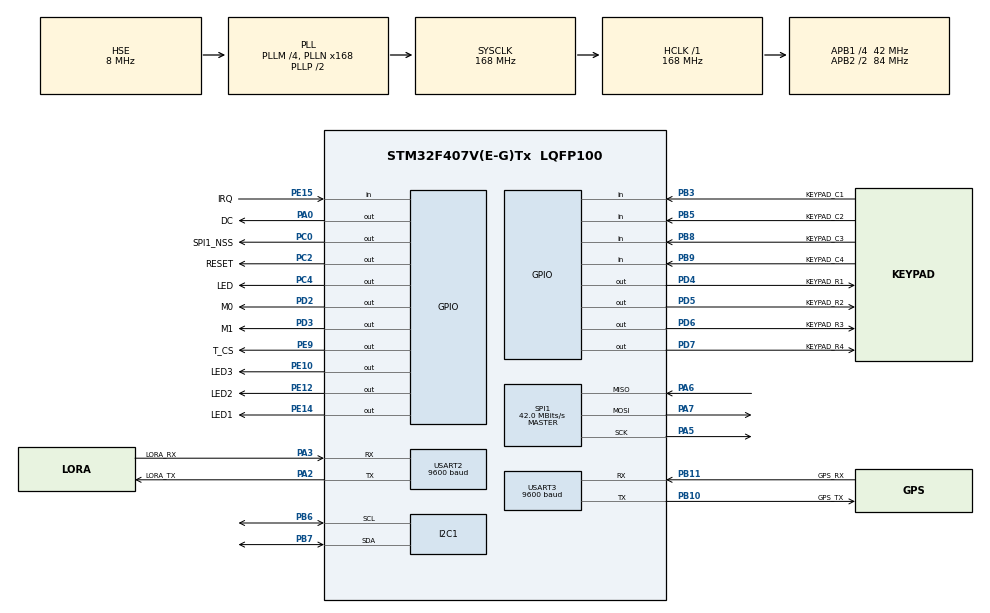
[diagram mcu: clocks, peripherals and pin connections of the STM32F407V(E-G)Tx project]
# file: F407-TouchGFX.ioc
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Dma.Request0=SPI1_TX
Dma.Request1=USART3_RX
Dma.Request2=USART2_RX
Dma.SPI1_TX.0.Direction=DMA_MEMORY_TO_PERIPH
Dma.SPI1_TX.0.FIFOMode=DMA_FIFOMODE_ENABLE
Dma.SPI1_TX.0.FIFOThreshold=DMA_FIFO_THRESHOLD_FULL
Dma.SPI1_TX.0.Instance=DMA2_Stream3
Dma.SPI1_TX.0.MemBurst=DMA_MBURST_SINGLE
Dma.SPI1_TX.0.MemDataAlignment=DMA_MDATAALIGN_BYTE
Dma.SPI1_TX.0.MemInc=DMA_MINC_ENABLE
Dma.SPI1_TX.0.Mode=DMA_NORMAL
Dma.SPI1_TX.0.PeriphBurst=DMA_PBURST_SINGLE
Dma.SPI1_TX.0.PeriphDataAlignment=DMA_PDATAALIGN_BYTE
Dma.SPI1_TX.0.PeriphInc=DMA_PINC_DISABLE
Dma.SPI1_TX.0.Priority=DMA_PRIORITY_LOW
Dma.USART2_RX.2.Direction=DMA_PERIPH_TO_MEMORY
Dma.USART2_RX.2.FIFOMode=DMA_FIFOMODE_DISABLE
Dma.USART2_RX.2.Instance=DMA1_Stream5
Dma.USART2_RX.2.MemDataAlignment=DMA_MDATAALIGN_BYTE
Dma.USART2_RX.2.MemInc=DMA_MINC_ENABLE
Dma.USART2_RX.2.Mode=DMA_NORMAL
Dma.USART2_RX.2.PeriphDataAlignment=DMA_PDATAALIGN_BYTE
Dma.USART2_RX.2.PeriphInc=DMA_PINC_DISABLE
Dma.USART2_RX.2.Priority=DMA_PRIORITY_LOW
Dma.USART3_RX.1.Direction=DMA_PERIPH_TO_MEMORY
Dma.USART3_RX.1.FIFOMode=DMA_FIFOMODE_DISABLE
Dma.USART3_RX.1.Instance=DMA1_Stream1
Dma.USART3_RX.1.MemDataAlignment=DMA_MDATAALIGN_BYTE
Dma.USART3_RX.1.MemInc=DMA_MINC_ENABLE
Dma.USART3_RX.1.Mode=DMA_NORMAL
Dma.USART3_RX.1.PeriphDataAlignment=DMA_PDATAALIGN_BYTE
Dma.USART3_RX.1.PeriphInc=DMA_PINC_DISABLE
Dma.USART3_RX.1.Priority=DMA_PRIORITY_LOW
FREERTOS.Queues01=transmitQ,4,String_t,0,Dynamic,NULL,NULL;receiveQ,4,String_t,0,Dynamic,NULL,NULL;latitudeQ,2,float,0,Dynamic,NULL,NULL;longitudeQ,2,float,0,Dynamic,NULL,NULL;testQ,1,uint16_t,0,Dynamic,NULL,NULL;keypadQ,1,uint8_t,0,Dynamic,NULL,NULL;gpsLengthQ,2,uint16_t,0,Dynamic,NULL,NULL;currentQ,2,uint16_t,0,Dynamic,NULL,NULL;voltageQ,2,uint16_t,0,Dynamic,NULL,NULL;rxLengthQ,2,uint16_t,0,Dynamic,NULL,NULL
FREERTOS.Tasks01=defaultTask,55,3000,StartDefaultTask,Default,NULL,Dynamic,NULL,NULL;blinkTask,8,128,StartBlinkTask,Default,NULL,Dynamic,NULL,NULL;gpsTask,24,2100,StartGPSTask,Default,NULL,Dynamic,NULL,NULL;keypadScanTask,32,128,StartKeypadScanTask,Default,NULL,Dynamic,NULL,NULL;INA219Task,16,512,StartINATask,Default,NULL,Dynamic,NULL,NULL;loraTask,24,512,StartLoRaTask,Default,NULL,Dynamic,NULL,NULL;loraSendTask,8,128,StartLoraSendTask,Default,NULL,Dynamic,NULL,NULL
FREERTOS.configTOTAL_HEAP_SIZE=32000
FREERTOS.configUSE_NEWLIB_REENTRANT=1
Mcu.Family=STM32F4
Mcu.Name=STM32F407V(E-G)Tx
Mcu.Package=LQFP100
NVIC.DMA1_Stream1_IRQn=true\:5\:0\:false\:false\:true\:true\:false\:true\:true
NVIC.DMA1_Stream5_IRQn=true\:5\:0\:false\:false\:true\:true\:false\:true\:true
NVIC.DMA2_Stream3_IRQn=true\:5\:0\:false\:false\:true\:true\:false\:true\:true
NVIC.PriorityGroup=NVIC_PRIORITYGROUP_4
NVIC.SPI1_IRQn=true\:5\:0\:false\:false\:true\:true\:true\:true\:true
NVIC.TIM1_UP_TIM10_IRQn=true\:15\:0\:false\:false\:true\:false\:false\:true\:true
NVIC.TIM7_IRQn=true\:5\:0\:false\:false\:true\:true\:true\:true\:true
NVIC.TimeBase=TIM1_UP_TIM10_IRQn
NVIC.TimeBaseIP=TIM10
NVIC.USART2_IRQn=true\:5\:0\:false\:false\:true\:true\:true\:true\:true
NVIC.USART3_IRQn=true\:5\:0\:false\:false\:true\:true\:true\:true\:true
PA0-WKUP.GPIO_Label=DC
PA0-WKUP.Signal=GPIO_Output
PA11.Signal=USB_OTG_FS_DM
PA12.Signal=USB_OTG_FS_DP
PA13.Mode=Serial_Wire
PA13.Signal=SYS_JTMS-SWDIO
PA14.Mode=Serial_Wire
PA14.Signal=SYS_JTCK-SWCLK
PA2.GPIO_Label=LORA_TX
PA2.GPIO_PuPd=GPIO_NOPULL
PA2.Mode=Asynchronous
PA2.Signal=USART2_TX
PA3.GPIO_Label=LORA_RX
PA3.GPIO_PuPd=GPIO_NOPULL
PA3.Mode=Asynchronous
PA3.Signal=USART2_RX
PA5.Mode=Full_Duplex_Master
PA5.Signal=SPI1_SCK
PA6.Mode=Full_Duplex_Master
PA6.Signal=SPI1_MISO
PA7.Mode=Full_Duplex_Master
PA7.Signal=SPI1_MOSI
PB10.GPIO_Label=GPS_TX
PB10.Mode=Asynchronous
PB10.Signal=USART3_TX
PB11.GPIO_Label=GPS_RX
PB11.Mode=Asynchronous
PB11.Signal=USART3_RX
PB3.GPIO_Label=KEYPAD_C1
PB3.GPIO_PuPd=GPIO_PULLUP
PB3.Signal=GPIO_Input
PB5.GPIO_Label=KEYPAD_C2
PB5.GPIO_PuPd=GPIO_PULLUP
PB5.Signal=GPIO_Input
PB6.Mode=I2C
PB6.Signal=I2C1_SCL
PB7.Mode=I2C
PB7.Signal=I2C1_SDA
PB8.GPIO_Label=KEYPAD_C3
PB8.GPIO_PuPd=GPIO_PULLUP
PB8.Signal=GPIO_Input
PB9.GPIO_Label=KEYPAD_C4
PB9.GPIO_PuPd=GPIO_PULLUP
PB9.Signal=GPIO_Input
PC0.GPIO_Label=SPI1_NSS
PC0.GPIO_Speed=GPIO_SPEED_FREQ_HIGH
PC0.Signal=GPIO_Output
PC2.GPIO_Label=RESET
PC2.Signal=GPIO_Output
PC4.GPIO_Label=LED
PC4.PinState=GPIO_PIN_SET
PC4.Signal=GPIO_Output
PD2.GPIO_Label=M0
PD2.Signal=GPIO_Output
PD3.GPIO_Label=M1
PD3.Signal=GPIO_Output
PD4.GPIO_Label=KEYPAD_R1
PD4.GPIO_PuPd=GPIO_NOPULL
PD4.PinState=GPIO_PIN_SET
PD4.Signal=GPIO_Output
PD5.GPIO_Label=KEYPAD_R2
PD5.GPIO_PuPd=GPIO_NOPULL
PD5.PinState=GPIO_PIN_SET
PD5.Signal=GPIO_Output
PD6.GPIO_Label=KEYPAD_R3
PD6.GPIO_PuPd=GPIO_NOPULL
PD6.PinState=GPIO_PIN_SET
PD6.Signal=GPIO_Output
PD7.GPIO_Label=KEYPAD_R4
PD7.GPIO_PuPd=GPIO_NOPULL
PD7.PinState=GPIO_PIN_SET
PD7.Signal=GPIO_Output
PE10.GPIO_Label=LED3
PE10.Signal=GPIO_Output
PE12.GPIO_Label=LED2
PE12.Signal=GPIO_Output
PE14.GPIO_Label=LED1
PE14.Signal=GPIO_Output
PE15.GPIO_Label=IRQ
PE15.Signal=GPIO_Input
PE9.GPIO_Label=T_CS
PE9.GPIO_Speed=GPIO_SPEED_FREQ_VERY_HIGH
PE9.PinState=GPIO_PIN_SET
PE9.Signal=GPIO_Output
PH0-OSC_IN.Mode=HSE-External-Oscillator
PH0-OSC_IN.Signal=RCC_OSC_IN
PH1-OSC_OUT.Mode=HSE-External-Oscillator
PH1-OSC_OUT.Signal=RCC_OSC_OUT
ProjectManager.HeapSize=0x200
ProjectManager.StackSize=0x400
ProjectManager.TargetToolchain=STM32CubeIDE
RCC.48MHZClocksFreq_Value=48000000
RCC.AHBFreq_Value=168000000
RCC.APB1CLKDivider=RCC_HCLK_DIV4
RCC.APB1Freq_Value=42000000
RCC.APB1TimFreq_Value=84000000
RCC.APB2CLKDivider=RCC_HCLK_DIV2
RCC.APB2Freq_Value=84000000
RCC.APB2TimFreq_Value=168000000
RCC.CortexFreq_Value=168000000
RCC.HCLKFreq_Value=168000000
RCC.HSE_VALUE=8000000
RCC.HSI_VALUE=16000000
RCC.LSE_VALUE=32768
RCC.PLLM=4
RCC.PLLN=168
RCC.PLLQ=7
RCC.PLLSourceVirtual=RCC_PLLSOURCE_HSE
RCC.SYSCLKFreq_VALUE=168000000
RCC.SYSCLKSource=RCC_SYSCLKSOURCE_PLLCLK
RCC.VCOOutputFreq_Value=336000000
SPI1.CalculateBaudRate=42.0 MBits/s
SPI1.Direction=SPI_DIRECTION_2LINES
SPI1.Mode=SPI_MODE_MASTER
SPI1.VirtualType=VM_MASTER
STMicroelectronics.X-CUBE-TOUCHGFX.4.20.0.ApplicationCcGraphicsJjApplication=TouchGFXOoGenerator
STMicroelectronics.X-CUBE-TOUCHGFX.4.20.0.tgfx_buffering_strategy=Partial
STMicroelectronics.X-CUBE-TOUCHGFX.4.20.0.tgfx_custom_height=240
STMicroelectronics.X-CUBE-TOUCHGFX.4.20.0.tgfx_custom_width=320
STMicroelectronics.X-CUBE-TOUCHGFX.4.20.0_IsPackSelfContextualization=true
TIM7.Period=30000 - 1
TIM7.Prescaler=168 - 1
USART2.BaudRate=9600
USART2.VirtualMode=VM_ASYNC
USART3.BaudRate=9600
USART3.VirtualMode=VM_ASYNC
VP_CRC_VS_CRC.Mode=CRC_Activate
VP_FREERTOS_VS_CMSIS_V2.Mode=CMSIS_V2
VP_STMicroelectronics.X-CUBE-TOUCHGFX_VS_GraphicsJjApplication_4.20.0.Mode=GraphicsJjApplication
VP_SYS_VS_tim10.Mode=TIM10
VP_TIM7_VS_ClockSourceINT.Mode=Enable_Timer
board=custom

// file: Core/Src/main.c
/* USER CODE BEGIN Header */
/**
  ******************************************************************************
  * @file           : main.c
  * @brief          : Main program body
  ******************************************************************************
  * @attention
  *
  * Copyright (c) 2022 STMicroelectronics.
  * All rights reserved.
  *
  * This software is licensed under terms that cman be found in the LICENSE file
  * in the root directory of this software component.
  * If no LICENSE file comes with this software, it is provided AS-IS.
  *
  ******************************************************************************
  */
/* USER CODE END Header */
#include "main.h"
#include "cmsis_os.h"
#include "app_touchgfx.h"

/* USER CODE BEGIN Includes */
#include "ili9341.h"
#include <stdbool.h>
#include <stdlib.h>
#include <string.h>
#include <stdio.h>
#include "INA219.h"
/* USER CODE END Includes */

/* USER CODE BEGIN PD */
#define GPS_BUF_SIZE 2048
#define LORA_RX_BUF_SIZE 128
#define LORA_TX_BUF_SIZE 128
#define DEVICE_ADDRESS 'A'
/* USER CODE END PD */

CRC_HandleTypeDef hcrc;

I2C_HandleTypeDef hi2c1;

SPI_HandleTypeDef hspi1;
DMA_HandleTypeDef hdma_spi1_tx;

TIM_HandleTypeDef htim7;

UART_HandleTypeDef huart2;
UART_HandleTypeDef huart3;
DMA_HandleTypeDef hdma_usart2_rx;
DMA_HandleTypeDef hdma_usart3_rx;

/* Definitions for defaultTask */
osThreadId_t defaultTaskHandle;
const osThreadAttr_t defaultTask_attributes = {
  .name = "defaultTask",
  .stack_size = 3000 * 4,
  .priority = (osPriority_t) osPriorityRealtime7,
};
/* Definitions for blinkTask */
osThreadId_t blinkTaskHandle;
const osThreadAttr_t blinkTask_attributes = {
  .name = "blinkTask",
  .stack_size = 128 * 4,
  .priority = (osPriority_t) osPriorityLow,
};
/* Definitions for gpsTask */
osThreadId_t gpsTaskHandle;
const osThreadAttr_t gpsTask_attributes = {
  .name = "gpsTask",
  .stack_size = 2100 * 4,
  .priority = (osPriority_t) osPriorityNormal,
};
/* Definitions for keypadScanTask */
osThreadId_t keypadScanTaskHandle;
const osThreadAttr_t keypadScanTask_attributes = {
  .name = "keypadScanTask",
  .stack_size = 128 * 4,
  .priority = (osPriority_t) osPriorityAboveNormal,
};
/* Definitions for INA219Task */
osThreadId_t INA219TaskHandle;
const osThreadAttr_t INA219Task_attributes = {
  .name = "INA219Task",
  .stack_size = 512 * 4,
  .priority = (osPriority_t) osPriorityBelowNormal,
};
/* Definitions for loraTask */
osThreadId_t loraTaskHandle;
const osThreadAttr_t loraTask_attributes = {
  .name = "loraTask",
  .stack_size = 512 * 4,
  .priority = (osPriority_t) osPriorityNormal,
};
/* Definitions for loraSendTask */
osThreadId_t loraSendTaskHandle;
const osThreadAttr_t loraSendTask_attributes = {
  .name = "loraSendTask",
  .stack_size = 128 * 4,
  .priority = (osPriority_t) osPriorityLow,
};
/* Definitions for transmitQ */
osMessageQueueId_t transmitQHandle;
const osMessageQueueAttr_t transmitQ_attributes = {
  .name = "transmitQ"
};
/* Definitions for receiveQ */
osMessageQueueId_t receiveQHandle;
const osMessageQueueAttr_t receiveQ_attributes = {
  .name = "receiveQ"
};
/* Definitions for latitudeQ */
osMessageQueueId_t latitudeQHandle;
const osMessageQueueAttr_t latitudeQ_attributes = {
  .name = "latitudeQ"
};
/* Definitions for longitudeQ */
osMessageQueueId_t longitudeQHandle;
const osMessageQueueAttr_t longitudeQ_attributes = {
  .name = "longitudeQ"
};
/* Definitions for testQ */
osMessageQueueId_t testQHandle;
const osMessageQueueAttr_t testQ_attributes = {
  .name = "testQ"
};
/* Definitions for keypadQ */
osMessageQueueId_t keypadQHandle;
const osMessageQueueAttr_t keypadQ_attributes = {
  .name = "keypadQ"
};
/* Definitions for gpsLengthQ */
osMessageQueueId_t gpsLengthQHandle;
const osMessageQueueAttr_t gpsLengthQ_attributes = {
  .name = "gpsLengthQ"
};
/* Definitions for currentQ */
osMessageQueueId_t currentQHandle;
const osMessageQueueAttr_t currentQ_attributes = {
  .name = "currentQ"
};
/* Definitions for voltageQ */
osMessageQueueId_t voltageQHandle;
const osMessageQueueAttr_t voltageQ_attributes = {
  .name = "voltageQ"
};
/* Definitions for rxLengthQ */
osMessageQueueId_t rxLengthQHandle;
const osMessageQueueAttr_t rxLengthQ_attributes = {
  .name = "rxLengthQ"
};
/* USER CODE BEGIN PV */
//SerialPrint
uint8_t buffer[512];
uint16_t bufferLength;

//DEBUGGING
uint16_t rxLength = 0;
uint8_t rxBuffer[128];

//GPS
float latitude = 0.0, longitude = 0.0;

/* USER CODE END PV */

void SystemClock_Config(void);
static void MX_GPIO_Init(void);
static void MX_DMA_Init(void);
static void MX_SPI1_Init(void);
static void MX_CRC_Init(void);
static void MX_TIM7_Init(void);
static void MX_USART3_UART_Init(void);
static void MX_USART2_UART_Init(void);
static void MX_I2C1_Init(void);
void StartDefaultTask(void *argument);
void StartBlinkTask(void *argument);
void StartGPSTask(void *argument);
void StartKeypadScanTask(void *argument);
void StartINATask(void *argument);
void StartLoRaTask(void *argument);
void StartLoraSendTask(void *argument);

int main(void)
{

  /* MCU Configuration--------------------------------------------------------*/

  /* Reset of all peripherals, Initializes the Flash interface and the Systick. */
  HAL_Init();

  /* Configure the system clock */
  SystemClock_Config();

  /* Initialize all configured peripherals */
  MX_GPIO_Init();
  MX_DMA_Init();
  MX_SPI1_Init();
  MX_CRC_Init();
  MX_TIM7_Init();
  MX_USART3_UART_Init();
  MX_USART2_UART_Init();
  MX_I2C1_Init();
  //MX_TouchGFX_Init();
  /* Call PreOsInit function */
  MX_TouchGFX_PreOSInit();
  /* USER CODE BEGIN 2 */
  HAL_Delay(50);
  HAL_TIM_Base_Start_IT(&htim7);
  ILI9341_Init();
  MX_TouchGFX_Init();

  memset(rxBuffer, 0, LORA_RX_BUF_SIZE);
  HAL_UARTEx_ReceiveToIdle_DMA(&huart2, rxBuffer, LORA_RX_BUF_SIZE);
  __HAL_DMA_DISABLE_IT(&hdma_usart2_rx, DMA_IT_HT);

  /* USER CODE END 2 */

  /* Init scheduler */
  osKernelInitialize();

  /* Create the queue(s) */
  /* creation of transmitQ */
  transmitQHandle = osMessageQueueNew (4, sizeof(String_t), &transmitQ_attributes);

  /* creation of receiveQ */
  receiveQHandle = osMessageQueueNew (4, sizeof(String_t), &receiveQ_attributes);

  /* creation of latitudeQ */
  latitudeQHandle = osMessageQueueNew (2, sizeof(float), &latitudeQ_attributes);

  /* creation of longitudeQ */
  longitudeQHandle = osMessageQueueNew (2, sizeof(float), &longitudeQ_attributes);

  /* creation of testQ */
  testQHandle = osMessageQueueNew (1, sizeof(uint16_t), &testQ_attributes);

  /* creation of keypadQ */
  keypadQHandle = osMessageQueueNew (1, sizeof(uint8_t), &keypadQ_attributes);

  /* creation of gpsLengthQ */
  gpsLengthQHandle = osMessageQueueNew (2, sizeof(uint16_t), &gpsLengthQ_attributes);

  /* creation of currentQ */
  currentQHandle = osMessageQueueNew (2, sizeof(uint16_t), &currentQ_attributes);

  /* creation of voltageQ */
  voltageQHandle = osMessageQueueNew (2, sizeof(uint16_t), &voltageQ_attributes);

  /* creation of rxLengthQ */
  rxLengthQHandle = osMessageQueueNew (2, sizeof(uint16_t), &rxLengthQ_attributes);

  /* Create the thread(s) */
  /* creation of defaultTask */
  defaultTaskHandle = osThreadNew(StartDefaultTask, NULL, &defaultTask_attributes);

  /* creation of blinkTask */
  blinkTaskHandle = osThreadNew(StartBlinkTask, NULL, &blinkTask_attributes);

  /* creation of gpsTask */
  gpsTaskHandle = osThreadNew(StartGPSTask, NULL, &gpsTask_attributes);

  /* creation of keypadScanTask */
  keypadScanTaskHandle = osThreadNew(StartKeypadScanTask, NULL, &keypadScanTask_attributes);

  /* creation of INA219Task */
  INA219TaskHandle = osThreadNew(StartINATask, NULL, &INA219Task_attributes);

  /* creation of loraTask */
  loraTaskHandle = osThreadNew(StartLoRaTask, NULL, &loraTask_attributes);

  /* creation of loraSendTask */
  loraSendTaskHandle = osThreadNew(StartLoraSendTask, NULL, &loraSendTask_attributes);

  /* Start scheduler */
  osKernelStart();

  /* We should never get here as control is now taken by the scheduler */
  /* Infinite loop */
  while (1)
  {

  }
}

void SystemClock_Config(void)
{
  RCC_OscInitTypeDef RCC_OscInitStruct = {0};
  RCC_ClkInitTypeDef RCC_ClkInitStruct = {0};

  /** Configure the main internal regulator output voltage
  */
  __HAL_RCC_PWR_CLK_ENABLE();
  __HAL_PWR_VOLTAGESCALING_CONFIG(PWR_REGULATOR_VOLTAGE_SCALE1);

  /** Initializes the RCC Oscillators according to the specified parameters
  * in the RCC_OscInitTypeDef structure.
  */
  RCC_OscInitStruct.OscillatorType = RCC_OSCILLATORTYPE_HSE;
  RCC_OscInitStruct.HSEState = RCC_HSE_ON;
  RCC_OscInitStruct.PLL.PLLState = RCC_PLL_ON;
  RCC_OscInitStruct.PLL.PLLSource = RCC_PLLSOURCE_HSE;
  RCC_OscInitStruct.PLL.PLLM = 4;
  RCC_OscInitStruct.PLL.PLLN = 168;
  RCC_OscInitStruct.PLL.PLLP = RCC_PLLP_DIV2;
  RCC_OscInitStruct.PLL.PLLQ = 7;
  if (HAL_RCC_OscConfig(&RCC_OscInitStruct) != HAL_OK)
  {
    Error_Handler();
  }

  /** Initializes the CPU, AHB and APB buses clocks
  */
  RCC_ClkInitStruct.ClockType = RCC_CLOCKTYPE_HCLK|RCC_CLOCKTYPE_SYSCLK
                              |RCC_CLOCKTYPE_PCLK1|RCC_CLOCKTYPE_PCLK2;
  RCC_ClkInitStruct.SYSCLKSource = RCC_SYSCLKSOURCE_PLLCLK;
  RCC_ClkInitStruct.AHBCLKDivider = RCC_SYSCLK_DIV1;
  RCC_ClkInitStruct.APB1CLKDivider = RCC_HCLK_DIV4;
  RCC_ClkInitStruct.APB2CLKDivider = RCC_HCLK_DIV2;

  if (HAL_RCC_ClockConfig(&RCC_ClkInitStruct, FLASH_LATENCY_5) != HAL_OK)
  {
    Error_Handler();
  }
}

static void MX_CRC_Init(void)
{

  hcrc.Instance = CRC;
  if (HAL_CRC_Init(&hcrc) != HAL_OK)
  {
    Error_Handler();
  }

}

static void MX_I2C1_Init(void)
{

  hi2c1.Instance = I2C1;
  hi2c1.Init.ClockSpeed = 100000;
  hi2c1.Init.DutyCycle = I2C_DUTYCYCLE_2;
  hi2c1.Init.OwnAddress1 = 0;
  hi2c1.Init.AddressingMode = I2C_ADDRESSINGMODE_7BIT;
  hi2c1.Init.DualAddressMode = I2C_DUALADDRESS_DISABLE;
  hi2c1.Init.OwnAddress2 = 0;
  hi2c1.Init.GeneralCallMode = I2C_GENERALCALL_DISABLE;
  hi2c1.Init.NoStretchMode = I2C_NOSTRETCH_DISABLE;
  if (HAL_I2C_Init(&hi2c1) != HAL_OK)
  {
    Error_Handler();
  }

}

static void MX_SPI1_Init(void)
{

  /* SPI1 parameter configuration*/
  hspi1.Instance = SPI1;
  hspi1.Init.Mode = SPI_MODE_MASTER;
  hspi1.Init.Direction = SPI_DIRECTION_2LINES;
  hspi1.Init.DataSize = SPI_DATASIZE_8BIT;
  hspi1.Init.CLKPolarity = SPI_POLARITY_LOW;
  hspi1.Init.CLKPhase = SPI_PHASE_1EDGE;
  hspi1.Init.NSS = SPI_NSS_SOFT;
  hspi1.Init.BaudRatePrescaler = SPI_BAUDRATEPRESCALER_2;
  hspi1.Init.FirstBit = SPI_FIRSTBIT_MSB;
  hspi1.Init.TIMode = SPI_TIMODE_DISABLE;
  hspi1.Init.CRCCalculation = SPI_CRCCALCULATION_DISABLE;
  hspi1.Init.CRCPolynomial = 10;
  if (HAL_SPI_Init(&hspi1) != HAL_OK)
  {
    Error_Handler();
  }

}

static void MX_TIM7_Init(void)
{

  TIM_MasterConfigTypeDef sMasterConfig = {0};

  htim7.Instance = TIM7;
  htim7.Init.Prescaler = 168 - 1;
  htim7.Init.CounterMode = TIM_COUNTERMODE_UP;
  htim7.Init.Period = 30000 - 1;
  htim7.Init.AutoReloadPreload = TIM_AUTORELOAD_PRELOAD_DISABLE;
  if (HAL_TIM_Base_Init(&htim7) != HAL_OK)
  {
    Error_Handler();
  }
  sMasterConfig.MasterOutputTrigger = TIM_TRGO_RESET;
  sMasterConfig.MasterSlaveMode = TIM_MASTERSLAVEMODE_DISABLE;
  if (HAL_TIMEx_MasterConfigSynchronization(&htim7, &sMasterConfig) != HAL_OK)
  {
    Error_Handler();
  }

}

static void MX_USART2_UART_Init(void)
{

  huart2.Instance = USART2;
  huart2.Init.BaudRate = 9600;
  huart2.Init.WordLength = UART_WORDLENGTH_8B;
  huart2.Init.StopBits = UART_STOPBITS_1;
  huart2.Init.Parity = UART_PARITY_NONE;
  huart2.Init.Mode = UART_MODE_TX_RX;
  huart2.Init.HwFlowCtl = UART_HWCONTROL_NONE;
  huart2.Init.OverSampling = UART_OVERSAMPLING_16;
  if (HAL_UART_Init(&huart2) != HAL_OK)
  {
    Error_Handler();
  }

}

static void MX_USART3_UART_Init(void)
{

  huart3.Instance = USART3;
  huart3.Init.BaudRate = 9600;
  huart3.Init.WordLength = UART_WORDLENGTH_8B;
  huart3.Init.StopBits = UART_STOPBITS_1;
  huart3.Init.Parity = UART_PARITY_NONE;
  huart3.Init.Mode = UART_MODE_TX_RX;
  huart3.Init.HwFlowCtl = UART_HWCONTROL_NONE;
  huart3.Init.OverSampling = UART_OVERSAMPLING_16;
  if (HAL_UART_Init(&huart3) != HAL_OK)
  {
    Error_Handler();
  }

}

static void MX_DMA_Init(void)
{

  /* DMA controller clock enable */
  __HAL_RCC_DMA2_CLK_ENABLE();
  __HAL_RCC_DMA1_CLK_ENABLE();

  /* DMA interrupt init */
  /* DMA1_Stream1_IRQn interrupt configuration */
  HAL_NVIC_SetPriority(DMA1_Stream1_IRQn, 5, 0);
  HAL_NVIC_EnableIRQ(DMA1_Stream1_IRQn);
  /* DMA1_Stream5_IRQn interrupt configuration */
  HAL_NVIC_SetPriority(DMA1_Stream5_IRQn, 5, 0);
  HAL_NVIC_EnableIRQ(DMA1_Stream5_IRQn);
  /* DMA2_Stream3_IRQn interrupt configuration */
  HAL_NVIC_SetPriority(DMA2_Stream3_IRQn, 5, 0);
  HAL_NVIC_EnableIRQ(DMA2_Stream3_IRQn);

}

static void MX_GPIO_Init(void)
{
  GPIO_InitTypeDef GPIO_InitStruct = {0};

  /* GPIO Ports Clock Enable */
  __HAL_RCC_GPIOH_CLK_ENABLE();
  __HAL_RCC_GPIOC_CLK_ENABLE();
  __HAL_RCC_GPIOA_CLK_ENABLE();
  __HAL_RCC_GPIOE_CLK_ENABLE();
  __HAL_RCC_GPIOB_CLK_ENABLE();
  __HAL_RCC_GPIOD_CLK_ENABLE();

  /*Configure GPIO pin Output Level */
  HAL_GPIO_WritePin(GPIOC, SPI1_NSS_Pin|RESET_Pin, GPIO_PIN_RESET);

  /*Configure GPIO pin Output Level */
  HAL_GPIO_WritePin(DC_GPIO_Port, DC_Pin, GPIO_PIN_RESET);

  /*Configure GPIO pin Output Level */
  HAL_GPIO_WritePin(LED_GPIO_Port, LED_Pin, GPIO_PIN_SET);

  /*Configure GPIO pin Output Level */
  HAL_GPIO_WritePin(T_CS_GPIO_Port, T_CS_Pin, GPIO_PIN_SET);

  /*Configure GPIO pin Output Level */
  HAL_GPIO_WritePin(GPIOE, LED3_Pin|LED2_Pin|LED1_Pin, GPIO_PIN_RESET);

  /*Configure GPIO pin Output Level */
  HAL_GPIO_WritePin(GPIOD, M0_Pin|M1_Pin, GPIO_PIN_RESET);

  /*Configure GPIO pin Output Level */
  HAL_GPIO_WritePin(GPIOD, KEYPAD_R1_Pin|KEYPAD_R2_Pin|KEYPAD_R3_Pin|KEYPAD_R4_Pin, GPIO_PIN_SET);

  /*Configure GPIO pin : SPI1_NSS_Pin */
  GPIO_InitStruct.Pin = SPI1_NSS_Pin;
  GPIO_InitStruct.Mode = GPIO_MODE_OUTPUT_PP;
  GPIO_InitStruct.Pull = GPIO_NOPULL;
  GPIO_InitStruct.Speed = GPIO_SPEED_FREQ_HIGH;
  HAL_GPIO_Init(SPI1_NSS_GPIO_Port, &GPIO_InitStruct);

  /*Configure GPIO pins : RESET_Pin LED_Pin */
  GPIO_InitStruct.Pin = RESET_Pin|LED_Pin;
  GPIO_InitStruct.Mode = GPIO_MODE_OUTPUT_PP;
  GPIO_InitStruct.Pull = GPIO_NOPULL;
  GPIO_InitStruct.Speed = GPIO_SPEED_FREQ_LOW;
  HAL_GPIO_Init(GPIOC, &GPIO_InitStruct);

  /*Configure GPIO pin : DC_Pin */
  GPIO_InitStruct.Pin = DC_Pin;
  GPIO_InitStruct.Mode = GPIO_MODE_OUTPUT_PP;
  GPIO_InitStruct.Pull = GPIO_NOPULL;
  GPIO_InitStruct.Speed = GPIO_SPEED_FREQ_LOW;
  HAL_GPIO_Init(DC_GPIO_Port, &GPIO_InitStruct);

  /*Configure GPIO pin : T_CS_Pin */
  GPIO_InitStruct.Pin = T_CS_Pin;
  GPIO_InitStruct.Mode = GPIO_MODE_OUTPUT_PP;
  GPIO_InitStruct.Pull = GPIO_NOPULL;
  GPIO_InitStruct.Speed = GPIO_SPEED_FREQ_VERY_HIGH;
  HAL_GPIO_Init(T_CS_GPIO_Port, &GPIO_InitStruct);

  /*Configure GPIO pins : LED3_Pin LED2_Pin LED1_Pin */
  GPIO_InitStruct.Pin = LED3_Pin|LED2_Pin|LED1_Pin;
  GPIO_InitStruct.Mode = GPIO_MODE_OUTPUT_PP;
  GPIO_InitStruct.Pull = GPIO_NOPULL;
  GPIO_InitStruct.Speed = GPIO_SPEED_FREQ_LOW;
  HAL_GPIO_Init(GPIOE, &GPIO_InitStruct);

  /*Configure GPIO pin : IRQ_Pin */
  GPIO_InitStruct.Pin = IRQ_Pin;
  GPIO_InitStruct.Mode = GPIO_MODE_INPUT;
  GPIO_InitStruct.Pull = GPIO_NOPULL;
  HAL_GPIO_Init(IRQ_GPIO_Port, &GPIO_InitStruct);

  /*Configure GPIO pins : PA11 PA12 */
  GPIO_InitStruct.Pin = GPIO_PIN_11|GPIO_PIN_12;
  GPIO_InitStruct.Mode = GPIO_MODE_AF_PP;
  GPIO_InitStruct.Pull = GPIO_NOPULL;
  GPIO_InitStruct.Speed = GPIO_SPEED_FREQ_VERY_HIGH;
  GPIO_InitStruct.Alternate = GPIO_AF10_OTG_FS;
  HAL_GPIO_Init(GPIOA, &GPIO_InitStruct);

  /*Configure GPIO pins : M0_Pin M1_Pin KEYPAD_R1_Pin KEYPAD_R2_Pin
                           KEYPAD_R3_Pin KEYPAD_R4_Pin */
  GPIO_InitStruct.Pin = M0_Pin|M1_Pin|KEYPAD_R1_Pin|KEYPAD_R2_Pin
                          |KEYPAD_R3_Pin|KEYPAD_R4_Pin;
  GPIO_InitStruct.Mode = GPIO_MODE_OUTPUT_PP;
  GPIO_InitStruct.Pull = GPIO_NOPULL;
  GPIO_InitStruct.Speed = GPIO_SPEED_FREQ_LOW;
  HAL_GPIO_Init(GPIOD, &GPIO_InitStruct);

  /*Configure GPIO pins : KEYPAD_C1_Pin KEYPAD_C2_Pin KEYPAD_C3_Pin KEYPAD_C4_Pin */
  GPIO_InitStruct.Pin = KEYPAD_C1_Pin|KEYPAD_C2_Pin|KEYPAD_C3_Pin|KEYPAD_C4_Pin;
  GPIO_InitStruct.Mode = GPIO_MODE_INPUT;
  GPIO_InitStruct.Pull = GPIO_PULLUP;
  HAL_GPIO_Init(GPIOB, &GPIO_InitStruct);

}

/* USER CODE BEGIN 4 */
extern void touchgfxSignalVSync(void);

void HAL_UARTEx_RxEventCallback(UART_HandleTypeDef *huart, uint16_t Size){
	static String_t rxQueueSend;
	if(huart->Instance == USART3){
		//GPSUSARTLength = Size;
		osMessageQueuePut(gpsLengthQHandle, &Size, 0U, 0U);
		osThreadFlagsSet(gpsTaskHandle, 0x01);
	}
	else if(huart->Instance == USART2){
		rxQueueSend.message = rxBuffer;
		rxQueueSend.message[Size] = '\0';
		rxQueueSend.length = Size;
		osMessageQueuePut(receiveQHandle, &rxQueueSend, 0U, 0U);

		HAL_UARTEx_ReceiveToIdle_DMA(&huart2, rxBuffer, LORA_RX_BUF_SIZE);
		__HAL_DMA_DISABLE_IT(&hdma_usart2_rx, DMA_IT_HT);

	}
}
/* USER CODE END 4 */

void StartDefaultTask(void *argument)
{
  /* USER CODE BEGIN 5 */
  MX_TouchGFX_Process();
  /* Infinite loop */
  for(;;)
  {
    osDelay(osWaitForever);
  }
  /* USER CODE END 5 */
}

void StartBlinkTask(void *argument)
{
  /* USER CODE BEGIN StartBlinkTask */
	uint16_t count = 0;
	uint8_t message[32];
  /* Infinite loop */
  for(;;)
  {
	osMessageQueuePut(testQHandle, &count, 0, 0);
	count++;
	HAL_GPIO_TogglePin(LED1_GPIO_Port, LED1_Pin);
    osDelay(1000);
  }
  /* USER CODE END StartBlinkTask */
}

void StartGPSTask(void *argument)
{
  /* USER CODE BEGIN StartGPSTask */
	uint8_t USART3Buffer[GPS_BUF_SIZE + 20];
	uint8_t GPSBuffer[GPS_BUF_SIZE];
	int8_t lat_dd;
	float lat_mm ;
	int8_t lon_dd ;
	float lon_mm;
	float velocity;
	uint16_t gpsLength = 0;

	memset(GPSBuffer, 0, GPS_BUF_SIZE);
	memset(USART3Buffer, 0, GPS_BUF_SIZE);

	HAL_UARTEx_ReceiveToIdle_DMA(&huart3, USART3Buffer, GPS_BUF_SIZE);
	__HAL_DMA_DISABLE_IT(&hdma_usart3_rx, DMA_IT_HT);

  /* Infinite loop */
  for(;;)
  {
	osThreadFlagsWait(0x01, osFlagsWaitAny, osWaitForever);
	if(osMessageQueueGet(gpsLengthQHandle, &gpsLength, 0U, 0U) != osOK) continue;
	uint8_t *ch_in_str;
	uint8_t *cek_valid;

	memcpy((uint8_t*)GPSBuffer, (uint8_t*)USART3Buffer, gpsLength);

	HAL_UARTEx_ReceiveToIdle_DMA(&huart3, USART3Buffer, GPS_BUF_SIZE);
	__HAL_DMA_DISABLE_IT(&hdma_usart3_rx, DMA_IT_HT);

	if ((ch_in_str = (uint8_t*)strstr((char*)GPSBuffer, "RMC")) != NULL) {
		ch_in_str = (uint8_t*)strchr((char*)++ch_in_str, ',');
		ch_in_str = (uint8_t*)strchr((char*)++ch_in_str, ',');

		if(ch_in_str[1] != 'A');
		//if (strchr((char*)ch_in_str, 'A') == NULL);
		else {
			//Mencari koma
			if ((ch_in_str = (uint8_t*)strchr((char*)++ch_in_str, ',')) != NULL) {

				//Parsing Nilai latitude dengan membagi 100 (integer)
				lat_dd = (short) strtoul((char*)++ch_in_str, NULL, 10) / 100;

				//Mengarah ke nilai mm
				++ch_in_str;
				lat_mm = strtof((char*)++ch_in_str, &ch_in_str);

				if (*(++ch_in_str) == 'S') {
					lat_dd *= -1;
					lat_mm *= -1;
				}

				latitude = lat_dd + (lat_mm / 60);

				//Mencari koma longitude
				++ch_in_str;
				++ch_in_str;
				lon_dd = (short) strtoul((char*)ch_in_str, NULL, 10) / 100;

				//Mengacu pada nilai mm
				++ch_in_str;
				++ch_in_str;
				lon_mm = strtof((char*)++ch_in_str, &ch_in_str);

				//Apabila longitude W
				if (*(++ch_in_str) == 'W') {
					lon_dd *= -1;
					lon_mm *= -1;
				}

				longitude = lon_dd + (lon_mm / 60);

				//Mengacu pada nilai velocity
				++ch_in_str;
				velocity = strtof((char*)++ch_in_str, NULL);
				//printf("GNRMC: latitude: %f\tlongitude: %f\tvelo: %f\r\n", latitude, longitude, velocity);
				//bufferLength = sprintf((char*)buffer, "GNRMC = latitude: %f\tlongitude: %f\tvelo: %f\r\n", latitude, longitude, velocity);
				//CDC_Transmit_FS(buffer, bufferLength);
				osMessageQueuePut(latitudeQHandle, &latitude, 0U, 0U);
				osMessageQueuePut(longitudeQHandle, &longitude, 0U, 0U);
			}
		}
	}

	/*if((ch_in_str = (uint8_t*)strstr((char*)GPSBuffer, "GGA")) != NULL){
		//$GPGGA,172814.0,3723.46587704,N,12202.26957864,W,2,6,1.2,18.893,M,-25.669,M,2.0,0031*4F

		//cek validity
		cek_valid = (uint8_t*)strchr((char*)ch_in_str, ',');
		cek_valid = (uint8_t*)strchr((char*)++cek_valid, ',');
		cek_valid = (uint8_t*)strchr((char*)++cek_valid, ',');

		cek_valid = (uint8_t*)strchr((char*)++cek_valid, ',');
		cek_valid = (uint8_t*)strchr((char*)++cek_valid, ',');
		cek_valid = (uint8_t*)strchr((char*)++cek_valid, ',');
		++cek_valid;

		if(*cek_valid != '1' && *cek_valid != '2' && *cek_valid != '6');
		else {
			ch_in_str = (uint8_t*)strchr((char*)++ch_in_str, ',');
			ch_in_str = (uint8_t*)strchr((char*)++ch_in_str, ',');

			//Parsing Nilai latitude dengan membagi 100 (integer)
			lat_dd = strtoul((char*)++ch_in_str, NULL, 10) / 100;

			//Mengarah ke nilai mm
			++ch_in_str;
			lat_mm = strtof((char*)++ch_in_str, &ch_in_str);

			if (*(++ch_in_str) == 'S') {
				lat_dd *= -1;
				lat_mm *= -1;
			}

			lat_gps = lat_dd + (lat_mm / 60);

			//Mencari koma longitude
			++ch_in_str;
			++ch_in_str;
			lon_dd = strtoul((char*)ch_in_str, NULL, 10) / 100;

			//Mengacu pada nilai mm
			++ch_in_str;
			++ch_in_str;
			lon_mm = strtof((char*)++ch_in_str, &ch_in_str);

			//Apabila longitude W
			if (*(++ch_in_str) == 'W') {
				lon_dd *= -1;
				lon_mm *= -1;
			}

			lon_gps = lon_dd + (lon_mm / 60);

			// skip fix indicator
			ch_in_str = ch_in_str + 3;

			// cari koma dua kali
			ch_in_str = (uint8_t*)strchr((char*)++ch_in_str, ',');
			ch_in_str = (uint8_t*)strchr((char*)++ch_in_str, ',');

			// ambil nilai altitude
			alti = strtof((char*)++ch_in_str, &ch_in_str);
			//printf("GNGGA: latitude: %f\tlongitude: %f\talti: %f\r\n", lat_gps, lon_gps, alti);
		}

	}
	//printf("vel: %f\tlat: %f\tlon: %f\r\n", velocity, latitude, longitude);*/
	memset(GPSBuffer, 0, GPS_BUF_SIZE);
  }
  /* USER CODE END StartGPSTask */
}

void StartKeypadScanTask(void *argument)
{
  /* USER CODE BEGIN StartKeypadScanTask */
	uint8_t numberPressed = 11;
	uint8_t prevNumberPressed = 11;
	uint32_t sameKeyTick = 0, prevKeyTick = 0;
	uint16_t RPin[4] = {KEYPAD_R1_Pin, KEYPAD_R2_Pin, KEYPAD_R3_Pin, KEYPAD_R4_Pin};
	uint16_t CPin[4] = {KEYPAD_C1_Pin, KEYPAD_C2_Pin, KEYPAD_C3_Pin, KEYPAD_C4_Pin};
  /* Infinite loop */
  for(;;)
  {
		uint8_t buttonPressed[2] = {255, 255};

		for(int i = 0; i < 4; i++){
			HAL_GPIO_WritePin(GPIOD, KEYPAD_R1_Pin | KEYPAD_R2_Pin | KEYPAD_R3_Pin | KEYPAD_R4_Pin, GPIO_PIN_SET);
			HAL_GPIO_WritePin(GPIOD, RPin[i], GPIO_PIN_RESET);

			for(int j = 0; j < 4; j++){
				if(HAL_GPIO_ReadPin(GPIOB, CPin[j]) == GPIO_PIN_RESET){
					buttonPressed[1] = j + 1;
					buttonPressed[0] = i + 1;
					break;
				}
			}
			if(buttonPressed[0] != 255 && buttonPressed[1] != 255) break;
		}

		if(buttonPressed[0] != 255 && buttonPressed[1] != 255){
			prevNumberPressed = numberPressed;
			sameKeyTick = osKernelGetTickCount() - prevKeyTick;
			if(buttonPressed[0] == 4 && buttonPressed[1] == 4) numberPressed = 1;
			else if(buttonPressed[0] == 3 && buttonPressed[1] == 4) numberPressed = 2;
			else if(buttonPressed[0] == 2 && buttonPressed[1] == 4) numberPressed = 3;
			else if(buttonPressed[0] == 1 && buttonPressed[1] == 4) numberPressed = 'A';
			else if(buttonPressed[0] == 4 && buttonPressed[1] == 3) numberPressed = 4;
			else if(buttonPressed[0] == 3 && buttonPressed[1] == 3) numberPressed = 5;
			else if(buttonPressed[0] == 2 && buttonPressed[1] == 3) numberPressed = 6;
			else if(buttonPressed[0] == 1 && buttonPressed[1] == 3) numberPressed = 'B';
			else if(buttonPressed[0] == 4 && buttonPressed[1] == 2) numberPressed = 7;
			else if(buttonPressed[0] == 3 && buttonPressed[1] == 2) numberPressed = 8;
			else if(buttonPressed[0] == 2 && buttonPressed[1] == 2) numberPressed = 9;
			else if(buttonPressed[0] == 1 && buttonPressed[1] == 2) numberPressed = 'C';
			else if(buttonPressed[0] == 4 && buttonPressed[1] == 1) numberPressed = 'X';
			else if(buttonPressed[0] == 3 && buttonPressed[1] == 1) numberPressed = 0;
			else if(buttonPressed[0] == 2 && buttonPressed[1] == 1) numberPressed = 'Y';
			else if(buttonPressed[0] == 1 && buttonPressed[1] == 1) numberPressed = 'D';
			prevKeyTick = osKernelGetTickCount();

			if(prevNumberPressed == numberPressed && sameKeyTick <= 100);
			else {
				osMessageQueuePut(keypadQHandle, &numberPressed, 0U, 0U);
				if(numberPressed == 'Y') osDelay(1000);
			}
		}

		osDelay(10);
  }
  /* USER CODE END StartKeypadScanTask */
}

void StartINATask(void *argument)
{
  /* USER CODE BEGIN StartINATask */
  INA219_t ina219;
  uint16_t vbus, vshunt, current;

  while(!INA219_Init(&ina219, &hi2c1, INA219_ADDRESS)){
	  HAL_GPIO_TogglePin(LED2_GPIO_Port, LED2_Pin);
	  osDelay(2000);
  }
  /* Infinite loop */
  for(;;)
  {
	vbus = INA219_ReadBusVoltage(&ina219);
	vshunt = INA219_ReadShuntVolage(&ina219);
	current = INA219_ReadCurrent(&ina219);
	osMessageQueuePut(currentQHandle, &current, 0U, 0U);
	osMessageQueuePut(voltageQHandle, &vbus, 0U, 0U);
    osDelay(1000);
  }
  /* USER CODE END StartINATask */
}

void StartLoRaTask(void *argument)
{
  /* USER CODE BEGIN StartLoRaTask */
	//uint8_t txBuffer[LORA_TX_BUF_SIZE];
  /* Infinite loop */
  for(;;)
  {
	  osDelay(osWaitForever);
//	osThreadFlagsWait(0x01, osFlagsWaitAny, osWaitForever);
//
//	if(osMessageQueueGet(rxLengthQHandle, &rxLength, 0U, 0U) != osOK) continue;
//	HAL_UARTEx_ReceiveToIdle_DMA(&huart2, rxBuffer, LORA_RX_BUF_SIZE);
//	__HAL_DMA_DISABLE_IT(&hdma_usart2_rx, DMA_IT_HT);
//	for(int i = 0; i < rxLength; i++) rxQueueSend.message[i] = rxBuffer[i];
//	rxQueueSend.message[rxLength] = 0;
//	rxQueueSend.length = rxLength;
//	osMessageQueuePut(receiveQHandle, &rxQueueSend, 0U, 0U);

  }
  /* USER CODE END StartLoRaTask */
}

void StartLoraSendTask(void *argument)
{
  /* USER CODE BEGIN StartLoraSendTask */
	uint8_t message[128];
	String_t sendMessageString;
	uint16_t messageLength = 0;
	uint32_t idMessage = 0;

  /* Infinite loop */
	for (;;) {
		if(osMessageQueueGet(transmitQHandle, &sendMessageString, 0U, 10) == osOK){
			for(int i = 0; i < sendMessageString.length; i++) idMessage += sendMessageString.message[i];
			idMessage += (DEVICE_ADDRESS + (TIM10->CNT * sendMessageString.length));
			messageLength = sprintf((char*)message, "%c,%f,%f,%s,%lu", DEVICE_ADDRESS, latitude, longitude, sendMessageString.message, idMessage);
			HAL_UART_Transmit(&huart2, message, messageLength, 100);
		}

/*		uint8_t lengthMessage = 0;
		osStatus_t statusTransmitQ;
		message[0] = 0;
		do {
			statusTransmitQ = osMessageQueueGet(transmitQHandle, &message[lengthMessage], 0U, 0U);
			lengthMessage++;
		} while (statusTransmitQ != osOK);

		if(message[0] != 0){
			for(int i = 0; i < lengthMessage; i++){
				osMessageQueuePut(receiveQHandle, &message[i], 0U, 0U);
			}
		}

		osDelay(20);*/

//		uint16_t lengthMessage = 0;
//
//		HAL_GPIO_TogglePin(LED3_GPIO_Port, LED3_Pin);
//		lengthMessage = sprintf((char*)message, "Hello: %lu\r\n", osKernelGetTickCount());
//		HAL_UART_Transmit(&huart2, message, lengthMessage, HAL_MAX_DELAY);
//		osDelay(2000);
	}
  /* USER CODE END StartLoraSendTask */
}

void HAL_TIM_PeriodElapsedCallback(TIM_HandleTypeDef *htim)
{
  if (htim->Instance == TIM10) {
    HAL_IncTick();
  }
  /* USER CODE BEGIN Callback 1 */
  else if(htim->Instance == TIM7){
	  touchgfxSignalVSync();
		//bufferLength = sprintf((char*)buffer, "Hello World!\r\n");
		//CDC_Transmit_FS(buffer, bufferLength);
  }
  /* USER CODE END Callback 1 */
}

void Error_Handler(void)
{
  /* USER CODE BEGIN Error_Handler_Debug */
	HAL_GPIO_WritePin(LED1_GPIO_Port, LED1_Pin, GPIO_PIN_SET);
	HAL_GPIO_WritePin(LED2_GPIO_Port, LED2_Pin, GPIO_PIN_SET);
	HAL_GPIO_WritePin(LED3_GPIO_Port, LED3_Pin, GPIO_PIN_SET);
  /* User can add his own implementation to report the HAL error return state */
  __disable_irq();
  while (1)
  {
  }
  /* USER CODE END Error_Handler_Debug */
}
